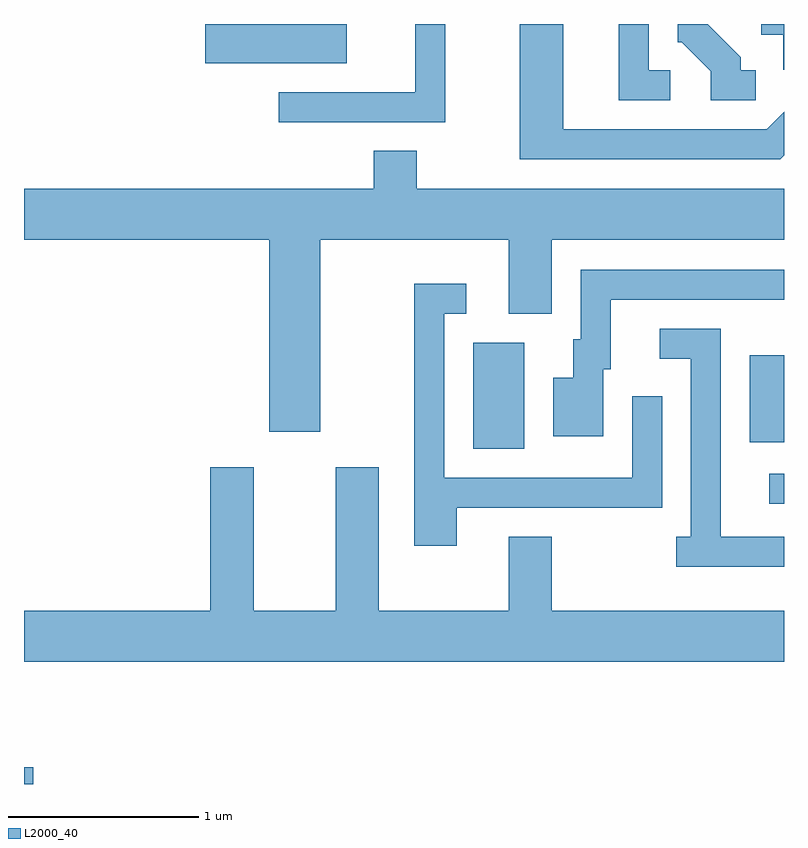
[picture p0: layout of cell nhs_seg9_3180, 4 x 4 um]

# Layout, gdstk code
import gdstk
lib = gdstk.Library(unit=1e-6, precision=1e-09)
def R(c, l, rs):  # rectangles x0, y0, x1, y1
    for r in rs: c.add(gdstk.rectangle(r[:2], r[2:], *l))
def P(c, l, *ps):  # polygons
    for p in ps: c.add(gdstk.Polygon(p, *l))
L2000_40 = (2000, 40)

nhs_seg9_3180 = lib.new_cell('nhs_seg9_3180')
R(nhs_seg9_3180, L2000_40, [(277.611,2064.432,277.659,2064.519), (281.533,2065.906,281.611,2066.064), (279.976,2066.196,280.244,2066.754), (281.431,2066.231,281.611,2066.689), (278.566,2068.226,279.309,2068.432)])
P(nhs_seg9_3180, L2000_40, [(279.829,2068.432),(279.671,2068.432),(279.671,2068.074),(278.953,2068.074),(278.953,2067.916),(279.829,2067.916)],
  [(281.013,2068.189),(280.899,2068.189),(280.899,2068.432),(280.741,2068.432),(280.741,2068.031),(281.013,2068.031)],
  [(281.611,2068.432),(281.491,2068.432),(281.491,2068.376),(281.606,2068.376),(281.606,2068.191),(281.611,2068.191)],
  [(281.463,2068.189),(281.384,2068.189),(281.384,2068.257),(281.209,2068.432),(281.051,2068.432),(281.051,2068.336),(281.074,2068.336),(281.226,2068.184),(281.226,2068.031),(281.463,2068.031)],
  [(281.611,2067.74),(281.611,2067.971),(281.519,2067.879),(280.449,2067.879),(280.449,2068.432),(280.221,2068.432),(280.221,2067.721),(281.592,2067.721)],
  [(279.169,2067.296),(280.161,2067.296),(280.161,2066.906),(280.389,2066.906),(280.389,2067.296),(281.611,2067.296),(281.611,2067.564),(279.679,2067.564),(279.679,2067.764),(279.451,2067.764),(279.451,2067.564),(277.611,2067.564),(277.611,2067.296),(278.901,2067.296),(278.901,2066.286),(279.169,2066.286)],
  [(280.659,2066.616),(280.699,2066.616),(280.699,2066.981),(281.611,2066.981),(281.611,2067.139),(280.541,2067.139),(280.541,2066.774),(280.501,2066.774),(280.501,2066.569),(280.396,2066.569),(280.396,2066.261),(280.659,2066.261)],
  [(279.889,2065.886),(280.969,2065.886),(280.969,2066.472),(280.811,2066.472),(280.811,2066.044),(279.824,2066.044),(279.824,2066.906),(279.938,2066.906),(279.938,2067.064),(279.666,2067.064),(279.666,2065.686),(279.889,2065.686)],
  [(281.611,2065.734),(281.279,2065.734),(281.279,2066.829),(280.958,2066.829),(280.958,2066.671),(281.121,2066.671),(281.121,2065.734),(281.043,2065.734),(281.043,2065.576),(281.611,2065.576)],
  [(281.611,2065.344),(280.389,2065.344),(280.389,2065.734),(280.161,2065.734),(280.161,2065.344),(279.479,2065.344),(279.479,2066.099),(279.251,2066.099),(279.251,2065.344),(278.819,2065.344),(278.819,2066.099),(278.591,2066.099),(278.591,2065.344),(277.611,2065.344),(277.611,2065.076),(281.611,2065.076)])

lib.write_gds('nhs_seg9_3180.gds')
